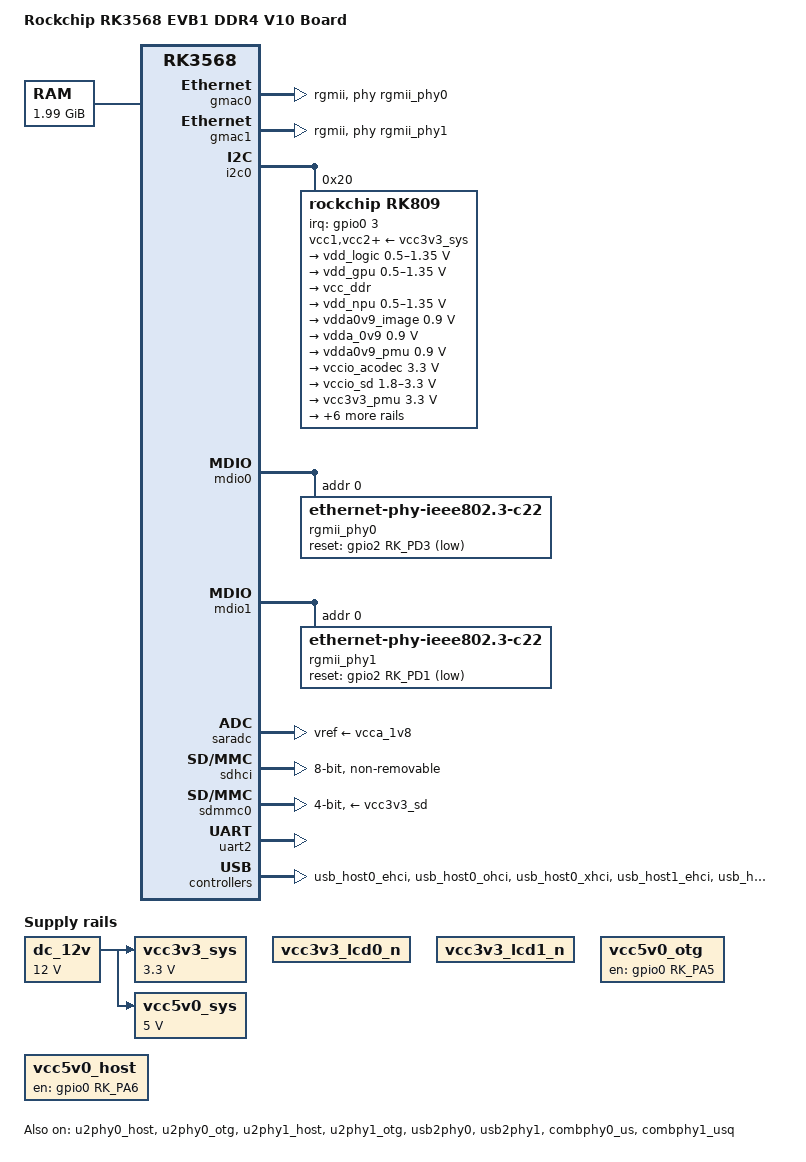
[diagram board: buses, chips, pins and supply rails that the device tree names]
// SPDX-License-Identifier: (GPL-2.0+ OR MIT)
/*
 * Copyright (c) 2021 Rockchip Electronics Co., Ltd.
 *
 */

/dts-v1/;
#include <dt-bindings/gpio/gpio.h>
#include <dt-bindings/pinctrl/rockchip.h>
#include "rk3568.dtsi"

/ {
	model = "Rockchip RK3568 EVB1 DDR4 V10 Board";
	compatible = "rockchip,rk3568-evb1-v10", "rockchip,rk3568";

	aliases {
		emmc = &sdhci;
		sd = &sdmmc0;
	};

	chosen: chosen {
		stdout-path = "serial2:1500000n8";

		environment-sd {
			compatible = "barebox,environment";
			device-path = &environment_sd;
			status = "disabled";
		};

		environment-emmc {
			compatible = "barebox,environment";
			device-path = &environment_emmc;
			status = "disabled";
		};
	};

	memory@a00000 {
		device_type = "memory";
		reg = <0x0 0x00a00000 0x0 0x7f600000>;
	};

	dc_12v: dc-12v {
		compatible = "regulator-fixed";
		regulator-name = "dc_12v";
		regulator-always-on;
		regulator-boot-on;
		regulator-min-microvolt = <12000000>;
		regulator-max-microvolt = <12000000>;
	};

	vcc3v3_sys: vcc3v3-sys {
		compatible = "regulator-fixed";
		regulator-name = "vcc3v3_sys";
		regulator-always-on;
		regulator-boot-on;
		regulator-min-microvolt = <3300000>;
		regulator-max-microvolt = <3300000>;
		vin-supply = <&dc_12v>;
	};

	vcc5v0_sys: vcc5v0-sys {
		compatible = "regulator-fixed";
		regulator-name = "vcc5v0_sys";
		regulator-always-on;
		regulator-boot-on;
		regulator-min-microvolt = <5000000>;
		regulator-max-microvolt = <5000000>;
		vin-supply = <&dc_12v>;
	};

	vcc3v3_lcd0_n: vcc3v3-lcd0-n {
		compatible = "regulator-fixed";
		regulator-name = "vcc3v3_lcd0_n";
		regulator-boot-on;

		regulator-state-mem {
			regulator-off-in-suspend;
		};
	};

	vcc3v3_lcd1_n: vcc3v3-lcd1-n {
		compatible = "regulator-fixed";
		regulator-name = "vcc3v3_lcd1_n";
		regulator-boot-on;

		regulator-state-mem {
			regulator-off-in-suspend;
		};
	};

	vcc5v0_otg: vcc5v0-otg-regulator {
		compatible = "regulator-fixed";
		enable-active-high;
		gpio = <&gpio0 RK_PA5 GPIO_ACTIVE_HIGH>;
		pinctrl-names = "default";
		pinctrl-0 = <&vcc5v0_otg_en>;
		regulator-name = "vcc5v0_otg";
	};

	vcc5v0_host: vcc5v0-host-regulator {
		compatible = "regulator-fixed";
		enable-active-high;
		gpio = <&gpio0 RK_PA6 GPIO_ACTIVE_HIGH>;
		pinctrl-names = "default";
		pinctrl-0 = <&vcc5v0_host_en>;
		regulator-name = "vcc5v0_host";
		regulator-always-on;
	};
};

&gmac0 {
	phy-mode = "rgmii";
	clock_in_out = "output";

	assigned-clocks = <&cru SCLK_GMAC0_RX_TX>, <&cru SCLK_GMAC0>;
	assigned-clock-parents = <&cru SCLK_GMAC0_RGMII_SPEED>;
	assigned-clock-rates = <0>, <125000000>;

	pinctrl-names = "default";
	pinctrl-0 = <&gmac0_miim
		     &gmac0_tx_bus2
		     &gmac0_rx_bus2
		     &gmac0_rgmii_clk
		     &gmac0_rgmii_bus>;

	tx_delay = <0x3c>;
	rx_delay = <0x2f>;

	phy-handle = <&rgmii_phy0>;
	status = "okay";
};

&gmac1 {
	phy-mode = "rgmii";
	clock_in_out = "output";

	assigned-clocks = <&cru SCLK_GMAC1_RX_TX>, <&cru SCLK_GMAC1>;
	assigned-clock-parents = <&cru SCLK_GMAC1_RGMII_SPEED>;
	assigned-clock-rates = <0>, <125000000>;

	pinctrl-names = "default";
	pinctrl-0 = <&gmac1m1_miim
		     &gmac1m1_tx_bus2
		     &gmac1m1_rx_bus2
		     &gmac1m1_rgmii_clk
		     &gmac1m1_rgmii_bus>;

	tx_delay = <0x4f>;
	rx_delay = <0x26>;

	phy-handle = <&rgmii_phy1>;
	status = "okay";
};

&i2c0 {
	status = "okay";

	rk809: pmic@20 {
		compatible = "rockchip,rk809";
		reg = <0x20>;
		interrupt-parent = <&gpio0>;
		interrupts = <3 IRQ_TYPE_LEVEL_LOW>;

		pinctrl-names = "default", "pmic-sleep",
				"pmic-power-off", "pmic-reset";
		pinctrl-0 = <&pmic_int>;
		pinctrl-1 = <&soc_slppin_slp>, <&rk817_slppin_slp>;
		pinctrl-2 = <&soc_slppin_gpio>, <&rk817_slppin_pwrdn>;
		pinctrl-3 = <&soc_slppin_gpio>, <&rk817_slppin_rst>;

		rockchip,system-power-controller;
		wakeup-source;
		#clock-cells = <1>;
		clock-output-names = "rk808-clkout1", "rk808-clkout2";
		//fb-inner-reg-idxs = <2>;
		/* 1: rst regs (default in codes), 0: rst the pmic */
		pmic-reset-func = <0>;

		vcc1-supply = <&vcc3v3_sys>;
		vcc2-supply = <&vcc3v3_sys>;
		vcc3-supply = <&vcc3v3_sys>;
		vcc4-supply = <&vcc3v3_sys>;
		vcc5-supply = <&vcc3v3_sys>;
		vcc6-supply = <&vcc3v3_sys>;
		vcc7-supply = <&vcc3v3_sys>;
		vcc8-supply = <&vcc3v3_sys>;
		vcc9-supply = <&vcc3v3_sys>;

		pwrkey {
			status = "okay";
		};

		pinctrl_rk8xx: pinctrl_rk8xx {
			gpio-controller;
			#gpio-cells = <2>;

			rk817_slppin_null: rk817_slppin_null {
				pins = "gpio_slp";
				function = "pin_fun0";
			};

			rk817_slppin_slp: rk817_slppin_slp {
				pins = "gpio_slp";
				function = "pin_fun1";
			};

			rk817_slppin_pwrdn: rk817_slppin_pwrdn {
				pins = "gpio_slp";
				function = "pin_fun2";
			};

			rk817_slppin_rst: rk817_slppin_rst {
				pins = "gpio_slp";
				function = "pin_fun3";
			};
		};

		regulators {
			vdd_logic: DCDC_REG1 {
				regulator-always-on;
				regulator-boot-on;
				regulator-min-microvolt = <500000>;
				regulator-max-microvolt = <1350000>;
				regulator-init-microvolt = <900000>;
				regulator-ramp-delay = <6001>;
				regulator-initial-mode = <0x2>;
				regulator-name = "vdd_logic";
				regulator-state-mem {
					regulator-off-in-suspend;
				};
			};

			vdd_gpu: DCDC_REG2 {
				regulator-always-on;
				regulator-boot-on;
				regulator-min-microvolt = <500000>;
				regulator-max-microvolt = <1350000>;
				regulator-init-microvolt = <900000>;
				regulator-ramp-delay = <6001>;
				regulator-initial-mode = <0x2>;
				regulator-name = "vdd_gpu";
				regulator-state-mem {
					regulator-off-in-suspend;
				};
			};

			vcc_ddr: DCDC_REG3 {
				regulator-always-on;
				regulator-boot-on;
				regulator-initial-mode = <0x2>;
				regulator-name = "vcc_ddr";
				regulator-state-mem {
					regulator-on-in-suspend;
				};
			};

			vdd_npu: DCDC_REG4 {
				regulator-always-on;
				regulator-boot-on;
				regulator-min-microvolt = <500000>;
				regulator-max-microvolt = <1350000>;
				regulator-init-microvolt = <900000>;
				regulator-ramp-delay = <6001>;
				regulator-initial-mode = <0x2>;
				regulator-name = "vdd_npu";
				regulator-state-mem {
					regulator-off-in-suspend;
				};
			};

			vdda0v9_image: LDO_REG1 {
				regulator-boot-on;
				regulator-always-on;
				regulator-min-microvolt = <900000>;
				regulator-max-microvolt = <900000>;
				regulator-name = "vdda0v9_image";
				regulator-state-mem {
					regulator-off-in-suspend;
				};
			};

			vdda_0v9: LDO_REG2 {
				regulator-always-on;
				regulator-boot-on;
				regulator-min-microvolt = <900000>;
				regulator-max-microvolt = <900000>;
				regulator-name = "vdda_0v9";
				regulator-state-mem {
					regulator-off-in-suspend;
				};
			};

			vdda0v9_pmu: LDO_REG3 {
				regulator-always-on;
				regulator-boot-on;
				regulator-min-microvolt = <900000>;
				regulator-max-microvolt = <900000>;
				regulator-name = "vdda0v9_pmu";
				regulator-state-mem {
					regulator-on-in-suspend;
					regulator-suspend-microvolt = <900000>;
				};
			};

			vccio_acodec: LDO_REG4 {
				regulator-always-on;
				regulator-boot-on;
				regulator-min-microvolt = <3300000>;
				regulator-max-microvolt = <3300000>;
				regulator-name = "vccio_acodec";
				regulator-state-mem {
					regulator-off-in-suspend;
				};
			};

			vccio_sd: LDO_REG5 {
				regulator-always-on;
				regulator-boot-on;
				regulator-min-microvolt = <1800000>;
				regulator-max-microvolt = <3300000>;
				regulator-name = "vccio_sd";
				regulator-state-mem {
					regulator-off-in-suspend;
				};
			};

			vcc3v3_pmu: LDO_REG6 {
				regulator-always-on;
				regulator-boot-on;
				regulator-min-microvolt = <3300000>;
				regulator-max-microvolt = <3300000>;
				regulator-name = "vcc3v3_pmu";
				regulator-state-mem {
					regulator-on-in-suspend;
					regulator-suspend-microvolt = <3300000>;
				};
			};

			vcca_1v8: LDO_REG7 {
				regulator-always-on;
				regulator-boot-on;
				regulator-min-microvolt = <1800000>;
				regulator-max-microvolt = <1800000>;
				regulator-name = "vcca_1v8";
				regulator-state-mem {
					regulator-off-in-suspend;
				};
			};

			vcca1v8_pmu: LDO_REG8 {
				regulator-always-on;
				regulator-boot-on;
				regulator-min-microvolt = <1800000>;
				regulator-max-microvolt = <1800000>;
				regulator-name = "vcca1v8_pmu";
				regulator-state-mem {
					regulator-on-in-suspend;
					regulator-suspend-microvolt = <1800000>;
				};
			};

			vcca1v8_image: LDO_REG9 {
				regulator-always-on;
				regulator-boot-on;
				regulator-min-microvolt = <1800000>;
				regulator-max-microvolt = <1800000>;
				regulator-name = "vcca1v8_image";
				regulator-state-mem {
					regulator-off-in-suspend;
				};
			};

			vcc_1v8: DCDC_REG5 {
				regulator-always-on;
				regulator-boot-on;
				regulator-min-microvolt = <1800000>;
				regulator-max-microvolt = <1800000>;
				regulator-name = "vcc_1v8";
				regulator-state-mem {
					regulator-off-in-suspend;
				};
			};

			vcc_3v3: SWITCH_REG1 {
				regulator-always-on;
				regulator-boot-on;
				regulator-name = "vcc_3v3";
				regulator-state-mem {
					regulator-off-in-suspend;
				};
			};

			vcc3v3_sd: SWITCH_REG2 {
				regulator-always-on;
				regulator-boot-on;
				regulator-name = "vcc3v3_sd";
				regulator-state-mem {
					regulator-off-in-suspend;
				};
			};
		};
	};
};

&mdio0 {
	rgmii_phy0: phy@0 {
		compatible = "ethernet-phy-ieee802.3-c22";
		reset-gpios = <&gpio2 RK_PD3 GPIO_ACTIVE_LOW>;
		reset-assert-us = <20000>;
		reset-deassert-us = <100000>;
		reg = <0x0>;
	};
};

&mdio1 {
	rgmii_phy1: phy@0 {
		compatible = "ethernet-phy-ieee802.3-c22";
		reset-gpios = <&gpio2 RK_PD1 GPIO_ACTIVE_LOW>;
		reset-assert-us = <20000>;
		reset-deassert-us = <100000>;
		reg = <0x0>;
	};
};

&pinctrl {
	pmic {
		pmic_int: pmic_int {
			rockchip,pins =
				<0 RK_PA3 RK_FUNC_GPIO &pcfg_pull_up>;
		};

		soc_slppin_gpio: soc_slppin_gpio {
			rockchip,pins =
				<0 RK_PA2 RK_FUNC_GPIO &pcfg_output_low>;
		};

		soc_slppin_slp: soc_slppin_slp {
			rockchip,pins =
				<0 RK_PA2 1 &pcfg_pull_none>;
		};

		soc_slppin_rst: soc_slppin_rst {
			rockchip,pins =
				<0 RK_PA2 2 &pcfg_pull_none>;
		};
	};

	usb {
		vcc5v0_host_en: vcc5v0-host-en {
			rockchip,pins = <0 RK_PA6 RK_FUNC_GPIO &pcfg_pull_none>;
		};

		vcc5v0_otg_en: vcc5v0-otg-en {
			rockchip,pins = <0 RK_PA5 RK_FUNC_GPIO &pcfg_pull_none>;
		};
	};
};

&saradc {
	vref-supply = <&vcca_1v8>;
	status = "okay";
};

&sdhci {
	bus-width = <8>;
	max-frequency = <200000000>;
	non-removable;
	no-sd;
	status = "okay";
	pinctrl-names = "default";
	pinctrl-0 = <&emmc_bus8 &emmc_clk &emmc_cmd &emmc_datastrobe>;

	partitions {
		compatible = "fixed-partitions";
		#address-cells = <2>;
		#size-cells = <2>;

		environment_emmc: partition@408000 {
			label = "barebox-environment";
			reg = <0x0 0x408000 0x0 0x8000>;
		};
	};
};

&sdmmc0 {
	max-frequency = <150000000>;
	bus-width = <4>;
	cap-mmc-highspeed;
	cap-sd-highspeed;
	disable-wp;
	sd-uhs-sdr104;
	vmmc-supply = <&vcc3v3_sd>;
	vqmmc-supply = <&vccio_sd>;
	pinctrl-names = "default";
	pinctrl-0 = <&sdmmc0_bus4 &sdmmc0_clk &sdmmc0_cmd &sdmmc0_det>;
	status = "okay";

	partitions {
		compatible = "fixed-partitions";
		#address-cells = <2>;
		#size-cells = <2>;

		environment_sd: partition@408000 {
			label = "barebox-environment";
			reg = <0x0 0x408000 0x0 0x8000>;
		};
	};
};

&uart2 {
	status = "okay";
};

&u2phy0_host {
	phy-supply = <&vcc5v0_host>;
	status = "okay";
};

&u2phy0_otg {
	vbus-supply = <&vcc5v0_otg>;
	status = "okay";
};

&u2phy1_host {
	phy-supply = <&vcc5v0_host>;
	status = "okay";
};

&u2phy1_otg {
	phy-supply = <&vcc5v0_host>;
	status = "okay";
};

&usb2phy0 {
	status = "okay";
};

&usb2phy1 {
	status = "okay";
};

&usb_host0_ehci {
	status = "okay";
};

&usb_host0_ohci {
	status = "okay";
};

&usb_host0_xhci {
	extcon = <&usb2phy0>;
	status = "okay";
};

&usb_host1_ehci {
	status = "okay";
};

&usb_host1_ohci {
	status = "okay";
};

&usb_host1_xhci {
	status = "okay";
};

&combphy0_us {
	status = "okay";
};

&combphy1_usq {
	status = "okay";
};
